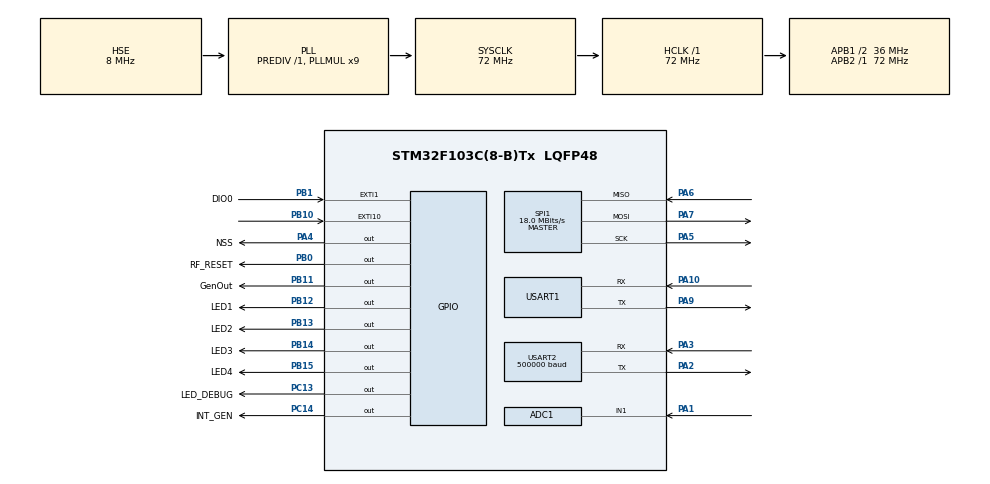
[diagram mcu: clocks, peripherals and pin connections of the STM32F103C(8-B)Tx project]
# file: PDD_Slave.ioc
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ADC1.Channel-1\#ChannelRegularConversion=ADC_CHANNEL_1
ADC1.ContinuousConvMode=ENABLE
ADC1.NbrOfConversionFlag=1
ADC1.Rank-1\#ChannelRegularConversion=1
ADC1.SamplingTime-1\#ChannelRegularConversion=ADC_SAMPLETIME_55CYCLES_5
ADC1.master=1
Dma.ADC1.2.Direction=DMA_PERIPH_TO_MEMORY
Dma.ADC1.2.Instance=DMA1_Channel1
Dma.ADC1.2.MemDataAlignment=DMA_MDATAALIGN_HALFWORD
Dma.ADC1.2.MemInc=DMA_MINC_ENABLE
Dma.ADC1.2.Mode=DMA_CIRCULAR
Dma.ADC1.2.PeriphDataAlignment=DMA_PDATAALIGN_HALFWORD
Dma.ADC1.2.PeriphInc=DMA_PINC_DISABLE
Dma.ADC1.2.Priority=DMA_PRIORITY_LOW
Dma.Request0=USART1_RX
Dma.Request1=USART2_TX
Dma.Request2=ADC1
Dma.USART1_RX.0.Direction=DMA_PERIPH_TO_MEMORY
Dma.USART1_RX.0.Instance=DMA1_Channel5
Dma.USART1_RX.0.MemDataAlignment=DMA_MDATAALIGN_BYTE
Dma.USART1_RX.0.MemInc=DMA_MINC_ENABLE
Dma.USART1_RX.0.Mode=DMA_NORMAL
Dma.USART1_RX.0.PeriphDataAlignment=DMA_PDATAALIGN_BYTE
Dma.USART1_RX.0.PeriphInc=DMA_PINC_DISABLE
Dma.USART1_RX.0.Priority=DMA_PRIORITY_LOW
Dma.USART2_TX.1.Direction=DMA_MEMORY_TO_PERIPH
Dma.USART2_TX.1.Instance=DMA1_Channel7
Dma.USART2_TX.1.MemDataAlignment=DMA_MDATAALIGN_BYTE
Dma.USART2_TX.1.MemInc=DMA_MINC_ENABLE
Dma.USART2_TX.1.Mode=DMA_NORMAL
Dma.USART2_TX.1.PeriphDataAlignment=DMA_PDATAALIGN_BYTE
Dma.USART2_TX.1.PeriphInc=DMA_PINC_DISABLE
Dma.USART2_TX.1.Priority=DMA_PRIORITY_LOW
Mcu.Family=STM32F1
Mcu.Name=STM32F103C(8-B)Tx
Mcu.Package=LQFP48
NVIC.DMA1_Channel1_IRQn=true\:0\:0\:false\:false\:true\:false\:true\:true
NVIC.DMA1_Channel5_IRQn=true\:0\:0\:false\:false\:true\:false\:true\:true
NVIC.DMA1_Channel7_IRQn=true\:0\:0\:false\:false\:true\:false\:true\:true
NVIC.EXTI15_10_IRQn=true\:0\:0\:false\:false\:true\:true\:true\:true
NVIC.EXTI1_IRQn=true\:0\:0\:false\:false\:true\:true\:true\:true
NVIC.PriorityGroup=NVIC_PRIORITYGROUP_4
NVIC.TIM1_UP_IRQn=true\:0\:0\:true\:false\:true\:true\:true\:true
NVIC.TIM3_IRQn=true\:1\:0\:true\:false\:true\:true\:true\:true
NVIC.USART1_IRQn=true\:0\:0\:false\:false\:true\:true\:true\:true
NVIC.USART2_IRQn=true\:0\:0\:false\:false\:true\:true\:true\:true
PA1.Signal=ADCx_IN1
PA10.Mode=Asynchronous
PA10.Signal=USART1_RX
PA13.Mode=Serial_Wire
PA13.Signal=SYS_JTMS-SWDIO
PA14.Mode=Serial_Wire
PA14.Signal=SYS_JTCK-SWCLK
PA2.Mode=Asynchronous
PA2.Signal=USART2_TX
PA3.Mode=Asynchronous
PA3.Signal=USART2_RX
PA4.GPIO_Label=NSS
PA4.Signal=GPIO_Output
PA5.Mode=Full_Duplex_Master
PA5.Signal=SPI1_SCK
PA6.Mode=Full_Duplex_Master
PA6.Signal=SPI1_MISO
PA7.Mode=Full_Duplex_Master
PA7.Signal=SPI1_MOSI
PA9.Mode=Asynchronous
PA9.Signal=USART1_TX
PB0.GPIO_Label=RF_RESET
PB0.Signal=GPIO_Output
PB1.GPIO_Label=DIO0
PB1.GPIO_PuPd=GPIO_PULLDOWN
PB1.Signal=GPXTI1
PB10.GPIO_PuPd=GPIO_PULLDOWN
PB10.Signal=GPXTI10
PB11.GPIO_Label=GenOut
PB11.Signal=GPIO_Output
PB12.GPIO_Label=LED1
PB12.Signal=GPIO_Output
PB13.GPIO_Label=LED2
PB13.Signal=GPIO_Output
PB14.GPIO_Label=LED3
PB14.Signal=GPIO_Output
PB15.GPIO_Label=LED4
PB15.Signal=GPIO_Output
PC13-TAMPER-RTC.GPIO_Label=LED_DEBUG
PC13-TAMPER-RTC.Signal=GPIO_Output
PC14-OSC32_IN.GPIO_Label=INT_GEN
PC14-OSC32_IN.Signal=GPIO_Output
PD0-OSC_IN.Mode=HSE-External-Oscillator
PD0-OSC_IN.Signal=RCC_OSC_IN
PD1-OSC_OUT.Mode=HSE-External-Oscillator
PD1-OSC_OUT.Signal=RCC_OSC_OUT
ProjectManager.HeapSize=0x200
ProjectManager.StackSize=0x400
ProjectManager.TargetToolchain=MDK-ARM V5.32
RCC.ADCPresc=RCC_ADCPCLK2_DIV6
RCC.AHBFreq_Value=72000000
RCC.APB1CLKDivider=RCC_HCLK_DIV2
RCC.APB1Freq_Value=36000000
RCC.APB1TimFreq_Value=72000000
RCC.APB2Freq_Value=72000000
RCC.APB2TimFreq_Value=72000000
RCC.HCLKFreq_Value=72000000
RCC.PLLMUL=RCC_PLL_MUL9
RCC.PLLSourceVirtual=RCC_PLLSOURCE_HSE
RCC.SYSCLKFreq_VALUE=72000000
RCC.SYSCLKSource=RCC_SYSCLKSOURCE_PLLCLK
RCC.USBFreq_Value=72000000
SH.ADCx_IN1.0=ADC1_IN1,IN1
SPI1.BaudRatePrescaler=SPI_BAUDRATEPRESCALER_4
SPI1.CalculateBaudRate=18.0 MBits/s
SPI1.Direction=SPI_DIRECTION_2LINES
SPI1.Mode=SPI_MODE_MASTER
SPI1.VirtualType=VM_MASTER
TIM1.AutoReloadPreload=TIM_AUTORELOAD_PRELOAD_ENABLE
TIM1.Period=49
TIM1.Prescaler=71
TIM3.Prescaler=71
USART1.VirtualMode=VM_ASYNC
USART2.BaudRate=500000
USART2.VirtualMode=VM_ASYNC
VP_TIM1_VS_ClockSourceINT.Mode=Internal
VP_TIM3_VS_ClockSourceINT.Mode=Internal
board=custom

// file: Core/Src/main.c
	/* USER CODE BEGIN Header */
/**
  ******************************************************************************
  * @file           : main.c
  * @brief          : Main program body
  ******************************************************************************
  * @attention
  *
  * Copyright (c) 2026 STMicroelectronics.
  * All rights reserved.
  *
  * This software is licensed under terms that can be found in the LICENSE file
  * in the root directory of this software component.
  * If no LICENSE file comes with this software, it is provided AS-IS.
  *
  ******************************************************************************
  */
/* USER CODE END Header */
#include "main.h"

/* USER CODE BEGIN Includes */

#include "LoRa.h"
#include <string.h>

#include <stdio.h>

/* USER CODE END Includes */

/* USER CODE BEGIN PD */

#define ON_LED_DEBUG( )	HAL_GPIO_WritePin(LED_DEBUG_GPIO_Port, LED_DEBUG_Pin, GPIO_PIN_RESET)
#define OFF_LED_DEBUG( )	HAL_GPIO_WritePin(LED_DEBUG_GPIO_Port, LED_DEBUG_Pin, GPIO_PIN_SET)

#define ON_LED1( )	HAL_GPIO_WritePin(LED1_GPIO_Port, LED1_Pin, GPIO_PIN_RESET)
#define OFF_LED1( )	HAL_GPIO_WritePin(LED1_GPIO_Port, LED1_Pin, GPIO_PIN_SET)

#define ON_LED2( )	HAL_GPIO_WritePin(LED2_GPIO_Port, LED2_Pin, GPIO_PIN_RESET)
#define OFF_LED2( )	HAL_GPIO_WritePin(LED2_GPIO_Port, LED2_Pin, GPIO_PIN_SET)

#define ON_LED3( )	HAL_GPIO_WritePin(LED3_GPIO_Port, LED3_Pin, GPIO_PIN_RESET)
#define OFF_LED3( )	HAL_GPIO_WritePin(LED3_GPIO_Port, LED3_Pin, GPIO_PIN_SET)

#define ON_LED4( )	HAL_GPIO_WritePin(LED4_GPIO_Port, LED4_Pin, GPIO_PIN_RESET)
#define OFF_LED4( )	HAL_GPIO_WritePin(LED4_GPIO_Port, LED4_Pin, GPIO_PIN_SET)

#define MA_SIZE 5

typedef struct
{
    uint16_t buf[MA_SIZE];
    uint32_t sum;
    uint8_t index;
} MA_Filter_t;

#define pA_L   6000
#define pA_H   8000

#define pB_L   1900
#define pB_H   867

#define pC_L   1367
#define pC_H   1567

#define ZERO_PS 1982

/* USER CODE END PD */

ADC_HandleTypeDef hadc1;
DMA_HandleTypeDef hdma_adc1;

SPI_HandleTypeDef hspi1;

TIM_HandleTypeDef htim1;
TIM_HandleTypeDef htim3;

UART_HandleTypeDef huart1;
UART_HandleTypeDef huart2;
DMA_HandleTypeDef hdma_usart1_rx;
DMA_HandleTypeDef hdma_usart2_tx;

/* USER CODE BEGIN PV */
uint32_t tick = 0;
volatile uint32_t cnt_timetick = 0;

uint32_t cycle = 20000;

LoRa vLoRa;

uint8_t TX_Lora_buff[12];
uint8_t RX_LoRa_buff[12];

uint8_t send_ok = 0;
uint16_t num_RX_irq_LoRa = 0;
uint8_t flag_Lora_Rx = 0;

uint16_t config_lora = 0xFA;

		uint16_t recOK = 0;

		uint64_t last_zc = 0;
		uint64_t now_zc = 0;
		uint32_t interval_zc = 0;

uint16_t adc_raw_pS = 0;
uint16_t adc_filtered_pS = 0;

uint16_t pS_cur = 0;
uint16_t pS_prev = 0;

volatile uint32_t ovf_tim3 = 0;

uint8_t flag_tx_log = 0;

char uart_tx_log[100];

uint32_t stt = 0;

uint16_t log_buff[1000];
uint16_t log_index = 0;

volatile uint8_t flag_cnt_50us = 0;

uint64_t tx_time = 0;
uint64_t rx_time = 0;
uint32_t deltaT = 0;
uint32_t LN = 0;

uint32_t latency = 0;

volatile uint8_t flag_get_zero = 0;
uint16_t offset_ZpA = 0;

/* USER CODE END PV */

void SystemClock_Config(void);
static void MX_GPIO_Init(void);
static void MX_DMA_Init(void);
static void MX_TIM1_Init(void);
static void MX_USART1_UART_Init(void);
static void MX_USART2_UART_Init(void);
static void MX_ADC1_Init(void);
static void MX_SPI1_Init(void);
static void MX_TIM3_Init(void);
/* USER CODE BEGIN PFP */
uint64_t GetTimeUs(){
  uint32_t ovf1, ovf2;
  uint32_t cnt;

  do {
    ovf1 = ovf_tim3;
    cnt = TIM3->CNT;
    ovf2 = ovf_tim3;
  } while (ovf1 != ovf2); // Guard against rollover during reading

  return ((uint64_t)ovf1 << 16) + cnt;
}

void HAL_TIM_PeriodElapsedCallback(TIM_HandleTypeDef *htim)
{
  if (htim->Instance == TIM1)
  {
    cnt_timetick++;
		flag_cnt_50us++;
  }
  if(htim->Instance == TIM3)
  {
    ovf_tim3++;
  }
}

void HAL_GPIO_EXTI_Callback(uint16_t GPIO_Pin)
	{
		/* Prevent unused argument(s) compilation warning */
		UNUSED(GPIO_Pin);

		if(GPIO_Pin == vLoRa.DIO0_pin)
		{
			num_RX_irq_LoRa++;
			flag_Lora_Rx = 1;
		}
		if(GPIO_Pin == GPIO_PIN_10)
		{
			tx_time = GetTimeUs();
		}

	}

void MA_Init(MA_Filter_t *f, uint16_t init_value)
{
    f->sum = 0;
    f->index = 0;

    for(int i=0; i<MA_SIZE; i++)
    {
        f->buf[i] = init_value;
        f->sum += init_value;
    }
}

uint16_t MA_Update(MA_Filter_t *f, uint16_t sample)
{
    f->sum -= f->buf[f->index];

    f->buf[f->index] = sample;

    f->sum += sample;

    f->index++;

    if(f->index >= MA_SIZE)
        f->index = 0;

    return f->sum / MA_SIZE;
}

/* USER CODE END PFP */

int main(void)
{

  /* MCU Configuration--------------------------------------------------------*/

  /* Reset of all peripherals, Initializes the Flash interface and the Systick. */
  HAL_Init();

  /* Configure the system clock */
  SystemClock_Config();

  /* Initialize all configured peripherals */
  MX_GPIO_Init();
  MX_DMA_Init();
  MX_TIM1_Init();
  MX_USART1_UART_Init();
  MX_USART2_UART_Init();
  MX_ADC1_Init();
  MX_SPI1_Init();
  MX_TIM3_Init();
  /* USER CODE BEGIN 2 */

	 HAL_GPIO_WritePin(LED_DEBUG_GPIO_Port, LED_DEBUG_Pin, GPIO_PIN_RESET);

  HAL_GPIO_WritePin(LED1_GPIO_Port, LED1_Pin, GPIO_PIN_RESET);

	Lora_Init(&vLoRa, &hspi1, 808);
	LoRa_reset(&vLoRa);

	config_lora = LoRa_Config(&vLoRa);

	while(config_lora!=0x00C8){
			HAL_GPIO_WritePin(LED_DEBUG_GPIO_Port, LED_DEBUG_Pin, GPIO_PIN_RESET);

	}
	HAL_GPIO_WritePin(LED_DEBUG_GPIO_Port, LED_DEBUG_Pin, GPIO_PIN_SET);

	LoRa_startReceiving(&vLoRa);

  HAL_TIM_Base_Start_IT(&htim1);
  HAL_TIM_Base_Start_IT(&htim3);

	HAL_ADC_Start_DMA(&hadc1, (uint32_t*)&adc_raw_pS, 1);

  MA_Filter_t adcFilter_pS;
  MA_Init(&adcFilter_pS, ZERO_PA);

	HAL_GPIO_WritePin(GenOut_GPIO_Port, GenOut_Pin, GPIO_PIN_RESET);

  /* USER CODE END 2 */

  /* Infinite loop */
  while (1)
  {

    /* USER CODE BEGIN 3 */

			tick++;

		if(cnt_timetick >= cycle)
    {
      cnt_timetick = 0;
			//HAL_GPIO_TogglePin(LED_DEBUG_GPIO_Port, LED_DEBUG_Pin);
    }

    if(flag_cnt_50us >= 2)    // 50us or 100us
    {
      flag_cnt_50us = 0;
      //flag_tx_log = 1;
      adc_filtered_pS = MA_Update(&adcFilter_pS, adc_raw_pS);

      pS_cur = adc_filtered_pS;

      if(pS_cur != 0 && pS_prev != 0)
      {
          if(pS_prev <= ZERO_PS && pS_cur > ZERO_PS)
          {
              //HAL_GPIO_WritePin(GenOut_GPIO_Port, GenOut_Pin, GPIO_PIN_SET);
              now_zc = GetTimeUs();
              interval_zc = now_zc - last_zc;
//              if(log_index < 1000)
//              {
//                  log_buff[log_index++] = interval_zc;
//              }
              last_zc = now_zc;
							//flag_tx_log = 1;
          }
      }

      pS_prev = pS_cur;
    }

		// code mach receiver
    if(flag_Lora_Rx == 1)
    {
      flag_Lora_Rx = 0;
			send_ok = LoRa_receive(&vLoRa, (uint8_t*)RX_LoRa_buff, 5);

      uint8_t checksum = RX_LoRa_buff[0] + RX_LoRa_buff[1] + RX_LoRa_buff[2] + RX_LoRa_buff[3];

      if(RX_LoRa_buff[0] == 0xAA && checksum == RX_LoRa_buff[4])
      {
          HAL_GPIO_TogglePin(LED_DEBUG_GPIO_Port, LED_DEBUG_Pin);
          rx_time = GetTimeUs();
          deltaT = (rx_time - last_zc)%20000;
					LN = (rx_time - last_zc)/20000;
					latency = rx_time - tx_time;

          if(deltaT > pA_L && deltaT < pA_H)
          {

          }

          if(deltaT > pB_L && deltaT < pB_H)
          {

          }

          if(deltaT > pC_L && deltaT < pC_H)
          {

          }

					flag_tx_log = 1;

      }
    }

    if(flag_tx_log == 1){
			flag_tx_log = 0;
			//sprintf(uart_tx_log, "%u %u %u\n",++stt, adc_raw_pS, adc_filtered_pS);

			//sprintf(uart_tx_log, "%u %u %u %u\n",++stt, adc_raw_pS, adc_filtered_pS, interval_zc);

			sprintf(uart_tx_log, "%u %u %u %u\n",++stt, deltaT, LN, latency);

			HAL_UART_Transmit_DMA(&huart2, (uint8_t*)uart_tx_log, strlen(uart_tx_log));
		}

		if(flag_get_zero){
			flag_get_zero = 0;

			uint32_t sum = 0;
			for(uint16_t i=0; i<1000; i++){
				sum+= adc_raw_pS;
				HAL_Delay(1);
			}
			offset_ZpA = sum/1000;
		}

  }
  /* USER CODE END 3 */
}

void SystemClock_Config(void)
{
  RCC_OscInitTypeDef RCC_OscInitStruct = {0};
  RCC_ClkInitTypeDef RCC_ClkInitStruct = {0};
  RCC_PeriphCLKInitTypeDef PeriphClkInit = {0};

  /** Initializes the RCC Oscillators according to the specified parameters
  * in the RCC_OscInitTypeDef structure.
  */
  RCC_OscInitStruct.OscillatorType = RCC_OSCILLATORTYPE_HSE;
  RCC_OscInitStruct.HSEState = RCC_HSE_ON;
  RCC_OscInitStruct.HSEPredivValue = RCC_HSE_PREDIV_DIV1;
  RCC_OscInitStruct.HSIState = RCC_HSI_ON;
  RCC_OscInitStruct.PLL.PLLState = RCC_PLL_ON;
  RCC_OscInitStruct.PLL.PLLSource = RCC_PLLSOURCE_HSE;
  RCC_OscInitStruct.PLL.PLLMUL = RCC_PLL_MUL9;
  if (HAL_RCC_OscConfig(&RCC_OscInitStruct) != HAL_OK)
  {
    Error_Handler();
  }

  /** Initializes the CPU, AHB and APB buses clocks
  */
  RCC_ClkInitStruct.ClockType = RCC_CLOCKTYPE_HCLK|RCC_CLOCKTYPE_SYSCLK
                              |RCC_CLOCKTYPE_PCLK1|RCC_CLOCKTYPE_PCLK2;
  RCC_ClkInitStruct.SYSCLKSource = RCC_SYSCLKSOURCE_PLLCLK;
  RCC_ClkInitStruct.AHBCLKDivider = RCC_SYSCLK_DIV1;
  RCC_ClkInitStruct.APB1CLKDivider = RCC_HCLK_DIV2;
  RCC_ClkInitStruct.APB2CLKDivider = RCC_HCLK_DIV1;

  if (HAL_RCC_ClockConfig(&RCC_ClkInitStruct, FLASH_LATENCY_2) != HAL_OK)
  {
    Error_Handler();
  }
  PeriphClkInit.PeriphClockSelection = RCC_PERIPHCLK_ADC;
  PeriphClkInit.AdcClockSelection = RCC_ADCPCLK2_DIV6;
  if (HAL_RCCEx_PeriphCLKConfig(&PeriphClkInit) != HAL_OK)
  {
    Error_Handler();
  }
}

static void MX_ADC1_Init(void)
{

  ADC_ChannelConfTypeDef sConfig = {0};

  /** Common config
  */
  hadc1.Instance = ADC1;
  hadc1.Init.ScanConvMode = ADC_SCAN_DISABLE;
  hadc1.Init.ContinuousConvMode = ENABLE;
  hadc1.Init.DiscontinuousConvMode = DISABLE;
  hadc1.Init.ExternalTrigConv = ADC_SOFTWARE_START;
  hadc1.Init.DataAlign = ADC_DATAALIGN_RIGHT;
  hadc1.Init.NbrOfConversion = 1;
  if (HAL_ADC_Init(&hadc1) != HAL_OK)
  {
    Error_Handler();
  }

  /** Configure Regular Channel
  */
  sConfig.Channel = ADC_CHANNEL_1;
  sConfig.Rank = ADC_REGULAR_RANK_1;
  sConfig.SamplingTime = ADC_SAMPLETIME_55CYCLES_5;
  if (HAL_ADC_ConfigChannel(&hadc1, &sConfig) != HAL_OK)
  {
    Error_Handler();
  }

}

static void MX_SPI1_Init(void)
{

  /* SPI1 parameter configuration*/
  hspi1.Instance = SPI1;
  hspi1.Init.Mode = SPI_MODE_MASTER;
  hspi1.Init.Direction = SPI_DIRECTION_2LINES;
  hspi1.Init.DataSize = SPI_DATASIZE_8BIT;
  hspi1.Init.CLKPolarity = SPI_POLARITY_LOW;
  hspi1.Init.CLKPhase = SPI_PHASE_1EDGE;
  hspi1.Init.NSS = SPI_NSS_SOFT;
  hspi1.Init.BaudRatePrescaler = SPI_BAUDRATEPRESCALER_4;
  hspi1.Init.FirstBit = SPI_FIRSTBIT_MSB;
  hspi1.Init.TIMode = SPI_TIMODE_DISABLE;
  hspi1.Init.CRCCalculation = SPI_CRCCALCULATION_DISABLE;
  hspi1.Init.CRCPolynomial = 10;
  if (HAL_SPI_Init(&hspi1) != HAL_OK)
  {
    Error_Handler();
  }

}

static void MX_TIM1_Init(void)
{

  TIM_ClockConfigTypeDef sClockSourceConfig = {0};
  TIM_MasterConfigTypeDef sMasterConfig = {0};

  htim1.Instance = TIM1;
  htim1.Init.Prescaler = 71;
  htim1.Init.CounterMode = TIM_COUNTERMODE_UP;
  htim1.Init.Period = 49;
  htim1.Init.ClockDivision = TIM_CLOCKDIVISION_DIV1;
  htim1.Init.RepetitionCounter = 0;
  htim1.Init.AutoReloadPreload = TIM_AUTORELOAD_PRELOAD_ENABLE;
  if (HAL_TIM_Base_Init(&htim1) != HAL_OK)
  {
    Error_Handler();
  }
  sClockSourceConfig.ClockSource = TIM_CLOCKSOURCE_INTERNAL;
  if (HAL_TIM_ConfigClockSource(&htim1, &sClockSourceConfig) != HAL_OK)
  {
    Error_Handler();
  }
  sMasterConfig.MasterOutputTrigger = TIM_TRGO_RESET;
  sMasterConfig.MasterSlaveMode = TIM_MASTERSLAVEMODE_DISABLE;
  if (HAL_TIMEx_MasterConfigSynchronization(&htim1, &sMasterConfig) != HAL_OK)
  {
    Error_Handler();
  }

}

static void MX_TIM3_Init(void)
{

  TIM_ClockConfigTypeDef sClockSourceConfig = {0};
  TIM_MasterConfigTypeDef sMasterConfig = {0};

  htim3.Instance = TIM3;
  htim3.Init.Prescaler = 71;
  htim3.Init.CounterMode = TIM_COUNTERMODE_UP;
  htim3.Init.Period = 65535;
  htim3.Init.ClockDivision = TIM_CLOCKDIVISION_DIV1;
  htim3.Init.AutoReloadPreload = TIM_AUTORELOAD_PRELOAD_DISABLE;
  if (HAL_TIM_Base_Init(&htim3) != HAL_OK)
  {
    Error_Handler();
  }
  sClockSourceConfig.ClockSource = TIM_CLOCKSOURCE_INTERNAL;
  if (HAL_TIM_ConfigClockSource(&htim3, &sClockSourceConfig) != HAL_OK)
  {
    Error_Handler();
  }
  sMasterConfig.MasterOutputTrigger = TIM_TRGO_RESET;
  sMasterConfig.MasterSlaveMode = TIM_MASTERSLAVEMODE_DISABLE;
  if (HAL_TIMEx_MasterConfigSynchronization(&htim3, &sMasterConfig) != HAL_OK)
  {
    Error_Handler();
  }

}

static void MX_USART1_UART_Init(void)
{

  huart1.Instance = USART1;
  huart1.Init.BaudRate = 115200;
  huart1.Init.WordLength = UART_WORDLENGTH_8B;
  huart1.Init.StopBits = UART_STOPBITS_1;
  huart1.Init.Parity = UART_PARITY_NONE;
  huart1.Init.Mode = UART_MODE_TX_RX;
  huart1.Init.HwFlowCtl = UART_HWCONTROL_NONE;
  huart1.Init.OverSampling = UART_OVERSAMPLING_16;
  if (HAL_UART_Init(&huart1) != HAL_OK)
  {
    Error_Handler();
  }

}

static void MX_USART2_UART_Init(void)
{

  huart2.Instance = USART2;
  huart2.Init.BaudRate = 500000;
  huart2.Init.WordLength = UART_WORDLENGTH_8B;
  huart2.Init.StopBits = UART_STOPBITS_1;
  huart2.Init.Parity = UART_PARITY_NONE;
  huart2.Init.Mode = UART_MODE_TX_RX;
  huart2.Init.HwFlowCtl = UART_HWCONTROL_NONE;
  huart2.Init.OverSampling = UART_OVERSAMPLING_16;
  if (HAL_UART_Init(&huart2) != HAL_OK)
  {
    Error_Handler();
  }

}

static void MX_DMA_Init(void)
{

  /* DMA controller clock enable */
  __HAL_RCC_DMA1_CLK_ENABLE();

  /* DMA interrupt init */
  /* DMA1_Channel1_IRQn interrupt configuration */
  HAL_NVIC_SetPriority(DMA1_Channel1_IRQn, 0, 0);
  HAL_NVIC_EnableIRQ(DMA1_Channel1_IRQn);
  /* DMA1_Channel5_IRQn interrupt configuration */
  HAL_NVIC_SetPriority(DMA1_Channel5_IRQn, 0, 0);
  HAL_NVIC_EnableIRQ(DMA1_Channel5_IRQn);
  /* DMA1_Channel7_IRQn interrupt configuration */
  HAL_NVIC_SetPriority(DMA1_Channel7_IRQn, 0, 0);
  HAL_NVIC_EnableIRQ(DMA1_Channel7_IRQn);

}

static void MX_GPIO_Init(void)
{
  GPIO_InitTypeDef GPIO_InitStruct = {0};

  /* GPIO Ports Clock Enable */
  __HAL_RCC_GPIOC_CLK_ENABLE();
  __HAL_RCC_GPIOD_CLK_ENABLE();
  __HAL_RCC_GPIOA_CLK_ENABLE();
  __HAL_RCC_GPIOB_CLK_ENABLE();

  /*Configure GPIO pin Output Level */
  HAL_GPIO_WritePin(GPIOC, LED_DEBUG_Pin|INT_GEN_Pin, GPIO_PIN_RESET);

  /*Configure GPIO pin Output Level */
  HAL_GPIO_WritePin(NSS_GPIO_Port, NSS_Pin, GPIO_PIN_RESET);

  /*Configure GPIO pin Output Level */
  HAL_GPIO_WritePin(GPIOB, RF_RESET_Pin|GenOut_Pin|LED1_Pin|LED2_Pin
                          |LED3_Pin|LED4_Pin, GPIO_PIN_RESET);

  /*Configure GPIO pins : LED_DEBUG_Pin INT_GEN_Pin */
  GPIO_InitStruct.Pin = LED_DEBUG_Pin|INT_GEN_Pin;
  GPIO_InitStruct.Mode = GPIO_MODE_OUTPUT_PP;
  GPIO_InitStruct.Pull = GPIO_NOPULL;
  GPIO_InitStruct.Speed = GPIO_SPEED_FREQ_LOW;
  HAL_GPIO_Init(GPIOC, &GPIO_InitStruct);

  /*Configure GPIO pin : NSS_Pin */
  GPIO_InitStruct.Pin = NSS_Pin;
  GPIO_InitStruct.Mode = GPIO_MODE_OUTPUT_PP;
  GPIO_InitStruct.Pull = GPIO_NOPULL;
  GPIO_InitStruct.Speed = GPIO_SPEED_FREQ_LOW;
  HAL_GPIO_Init(NSS_GPIO_Port, &GPIO_InitStruct);

  /*Configure GPIO pins : RF_RESET_Pin GenOut_Pin LED1_Pin LED2_Pin
                           LED3_Pin LED4_Pin */
  GPIO_InitStruct.Pin = RF_RESET_Pin|GenOut_Pin|LED1_Pin|LED2_Pin
                          |LED3_Pin|LED4_Pin;
  GPIO_InitStruct.Mode = GPIO_MODE_OUTPUT_PP;
  GPIO_InitStruct.Pull = GPIO_NOPULL;
  GPIO_InitStruct.Speed = GPIO_SPEED_FREQ_LOW;
  HAL_GPIO_Init(GPIOB, &GPIO_InitStruct);

  /*Configure GPIO pins : DIO0_Pin PB10 */
  GPIO_InitStruct.Pin = DIO0_Pin|GPIO_PIN_10;
  GPIO_InitStruct.Mode = GPIO_MODE_IT_RISING;
  GPIO_InitStruct.Pull = GPIO_PULLDOWN;
  HAL_GPIO_Init(GPIOB, &GPIO_InitStruct);

  /* EXTI interrupt init*/
  HAL_NVIC_SetPriority(EXTI1_IRQn, 0, 0);
  HAL_NVIC_EnableIRQ(EXTI1_IRQn);

  HAL_NVIC_SetPriority(EXTI15_10_IRQn, 0, 0);
  HAL_NVIC_EnableIRQ(EXTI15_10_IRQn);

}

void Error_Handler(void)
{
  __disable_irq();
  while (1)
  {
  }
}
